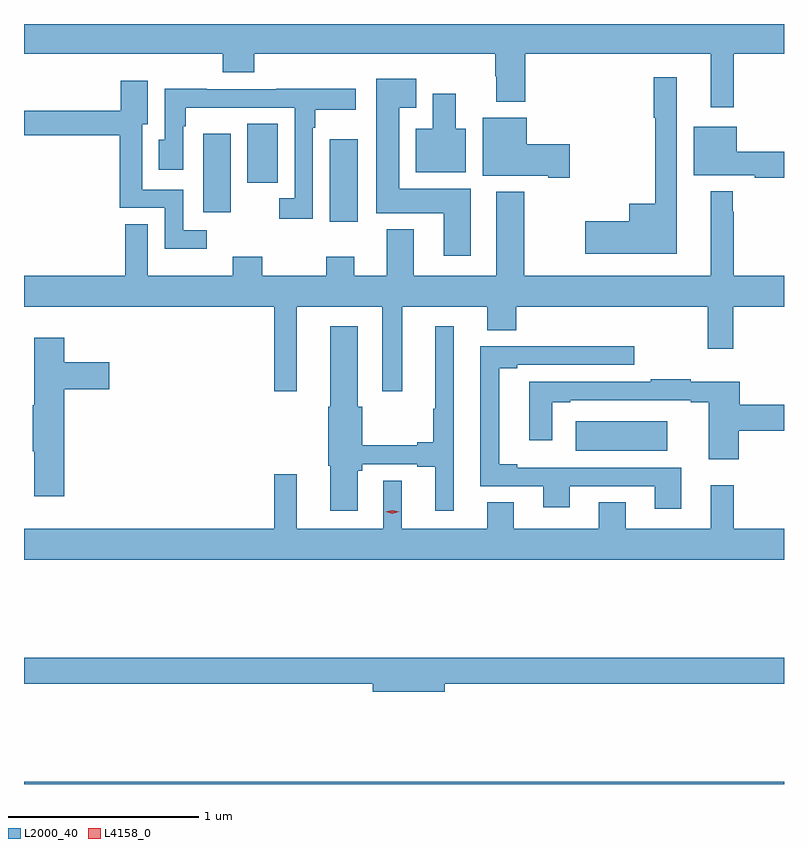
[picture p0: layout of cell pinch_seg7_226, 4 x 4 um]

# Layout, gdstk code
import gdstk
lib = gdstk.Library(unit=1e-6, precision=1e-09)
def R(c, l, rs):  # rectangles x0, y0, x1, y1
    for r in rs: c.add(gdstk.rectangle(r[:2], r[2:], *l))
def P(c, l, *ps):  # polygons
    for p in ps: c.add(gdstk.Polygon(p, *l))
L2000_40 = (2000, 40)
L4158_0 = (4158, 0)

pinch_seg7_226 = lib.new_cell('pinch_seg7_226')
R(pinch_seg7_226, L2000_40, [(843.495,1052.716,847.495,1052.728), (846.399,1054.469,846.88,1054.624), (845.105,1055.675,845.251,1056.109), (844.439,1055.724,844.582,1056.139), (844.67,1055.88,844.831,1056.191)])
P(pinch_seg7_226, L2000_40, [(843.495,1056.56),(844.541,1056.56),(844.541,1056.461),(844.706,1056.461),(844.706,1056.56),(845.974,1056.56),(845.974,1056.44),(845.981,1056.44),(845.981,1056.308),(846.134,1056.308),(846.134,1056.56),(847.109,1056.56),(847.109,1056.279),(847.231,1056.279),(847.231,1056.56),(847.495,1056.56),(847.495,1056.716),(843.495,1056.716)],
  [(846.931,1056.436),(846.81,1056.436),(846.81,1056.223),(846.817,1056.223),(846.817,1055.77),(846.68,1055.77),(846.68,1055.678),(846.45,1055.678),(846.45,1055.507),(846.931,1055.507)],
  [(845.845,1055.848),(845.47,1055.848),(845.47,1056.275),(845.56,1056.275),(845.56,1056.427),(845.348,1056.427),(845.348,1055.72),(845.705,1055.72),(845.705,1055.496),(845.845,1055.496)],
  [(844.456,1055.631),(844.332,1055.631),(844.332,1055.844),(844.117,1055.844),(844.117,1056.189),(844.147,1056.189),(844.147,1056.418),(844.004,1056.418),(844.004,1056.259),(843.495,1056.259),(843.495,1056.13),(843.999,1056.13),(843.999,1055.748),(844.236,1055.748),(844.236,1055.534),(844.456,1055.534)],
  [(845.016,1056.17),(845.029,1056.17),(845.029,1056.266),(845.242,1056.266),(845.242,1056.374),(844.823,1056.374),(844.823,1056.372),(844.457,1056.372),(844.457,1056.374),(844.236,1056.374),(844.236,1056.108),(844.205,1056.108),(844.205,1055.949),(844.332,1055.949),(844.332,1056.179),(844.345,1056.179),(844.345,1056.275),(844.557,1056.275),(844.557,1056.276),(844.92,1056.276),(844.92,1055.799),(844.839,1055.799),(844.839,1055.691),(845.016,1055.691)],
  [(845.821,1056.166),(845.767,1056.166),(845.767,1056.349),(845.645,1056.349),(845.645,1056.166),(845.558,1056.166),(845.558,1055.936),(845.821,1055.936)],
  [(846.367,1056.084),(846.142,1056.084),(846.142,1056.223),(845.909,1056.223),(845.909,1055.918),(846.254,1055.918),(846.254,1055.906),(846.367,1055.906)],
  [(847.495,1056.044),(847.246,1056.044),(847.246,1056.175),(847.019,1056.175),(847.019,1055.921),(847.342,1055.921),(847.342,1055.908),(847.495,1055.908)],
  [(844.93,1055.228),(845.381,1055.228),(845.381,1054.782),(845.485,1054.782),(845.485,1055.228),(845.933,1055.228),(845.933,1055.104),(846.086,1055.104),(846.086,1055.228),(847.094,1055.228),(847.094,1055.007),(847.229,1055.007),(847.229,1055.228),(847.495,1055.228),(847.495,1055.392),(847.231,1055.392),(847.231,1055.729),(847.224,1055.729),(847.224,1055.836),(847.109,1055.836),(847.109,1055.392),(846.129,1055.392),(846.129,1055.833),(845.981,1055.833),(845.981,1055.392),(845.545,1055.392),(845.545,1055.635),(845.405,1055.635),(845.405,1055.392),(845.233,1055.392),(845.233,1055.491),(845.086,1055.491),(845.086,1055.392),(844.749,1055.392),(844.749,1055.491),(844.594,1055.491),(844.594,1055.392),(844.147,1055.392),(844.147,1055.663),(844.029,1055.663),(844.029,1055.392),(843.495,1055.392),(843.495,1055.228),(844.813,1055.228),(844.813,1054.782),(844.93,1054.782)],
  [(845.251,1054.365),(845.274,1054.365),(845.274,1054.398),(845.564,1054.398),(845.564,1054.386),(845.66,1054.386),(845.66,1054.155),(845.758,1054.155),(845.758,1055.125),(845.66,1055.125),(845.66,1054.691),(845.649,1054.691),(845.649,1054.514),(845.564,1054.514),(845.564,1054.499),(845.274,1054.499),(845.274,1054.701),(845.251,1054.701),(845.251,1055.125),(845.108,1055.125),(845.108,1054.701),(845.096,1054.701),(845.096,1054.391),(845.108,1054.391),(845.108,1054.155),(845.251,1054.155)],
  [(843.707,1054.793),(843.943,1054.793),(843.943,1054.935),(843.707,1054.935),(843.707,1055.065),(843.548,1055.065),(843.548,1054.709),(843.541,1054.709),(843.541,1054.468),(843.548,1054.468),(843.548,1054.23),(843.707,1054.23)],
  [(846.955,1054.38),(846.363,1054.38),(846.363,1054.381),(846.091,1054.381),(846.091,1054.4),(845.995,1054.4),(845.995,1054.903),(846.091,1054.903),(846.091,1054.923),(846.706,1054.923),(846.706,1055.021),(846.169,1055.021),(846.169,1055.019),(845.897,1055.019),(845.897,1054.284),(846.227,1054.284),(846.227,1054.172),(846.367,1054.172),(846.367,1054.284),(846.815,1054.284),(846.815,1054.164),(846.955,1054.164)],
  [(847.257,1054.576),(847.495,1054.576),(847.495,1054.712),(847.262,1054.712),(847.262,1054.834),(847.004,1054.834),(847.004,1054.846),(846.793,1054.846),(846.793,1054.833),(846.155,1054.833),(846.155,1054.524),(846.274,1054.524),(846.274,1054.725),(846.37,1054.725),(846.37,1054.737),(847.004,1054.737),(847.004,1054.725),(847.1,1054.725),(847.1,1054.425),(847.257,1054.425)],
  [(847.495,1054.06),(847.231,1054.06),(847.231,1054.288),(847.109,1054.288),(847.109,1054.06),(846.661,1054.06),(846.661,1054.199),(846.521,1054.199),(846.521,1054.06),(846.073,1054.06),(846.073,1054.199),(845.933,1054.199),(845.933,1054.06),(845.483,1054.06),(845.483,1054.312),(845.385,1054.312),(845.385,1054.06),(844.93,1054.06),(844.93,1054.345),(844.813,1054.345),(844.813,1054.06),(843.495,1054.06),(843.495,1053.896),(847.495,1053.896)],
  [(845.71,1053.244),(847.495,1053.244),(847.495,1053.38),(843.495,1053.38),(843.495,1053.244),(845.33,1053.244),(845.33,1053.202),(845.71,1053.202)])
P(pinch_seg7_226, L4158_0, [(845.434,1054.138),(845.398,1054.148),(845.398,1054.148),(845.398,1054.149),(845.434,1054.158),(845.469,1054.149),(845.47,1054.148),(845.469,1054.148)])

lib.write_gds('pinch_seg7_226.gds')
